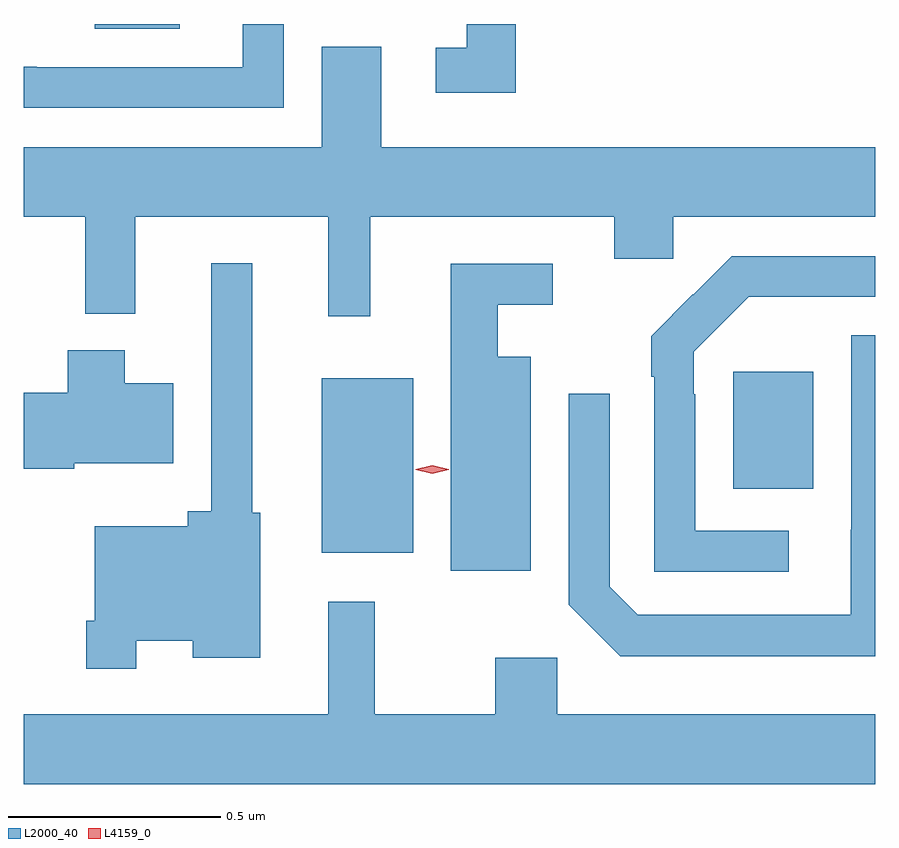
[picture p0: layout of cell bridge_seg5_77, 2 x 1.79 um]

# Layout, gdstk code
import gdstk
lib = gdstk.Library(unit=1e-6, precision=1e-09)
def R(c, l, rs):  # rectangles x0, y0, x1, y1
    for r in rs: c.add(gdstk.rectangle(r[:2], r[2:], *l))
def P(c, l, *ps):  # polygons
    for p in ps: c.add(gdstk.Polygon(p, *l))
L2000_40 = (2000, 40)
L4159_0 = (4159, 0)

bridge_seg5_77 = lib.new_cell('bridge_seg5_77')
R(bridge_seg5_77, L2000_40, [(134.195,906.587,134.41,906.997), (135.161,906.737,135.349,907.012), (133.662,907.818,133.861,907.829)])
P(bridge_seg5_77, L2000_40, [(134.106,907.829),(134.009,907.829),(134.009,907.728),(133.525,907.728),(133.525,907.729),(133.495,907.729),(133.495,907.632),(134.106,907.632)],
  [(134.651,907.829),(134.535,907.829),(134.535,907.773),(134.463,907.773),(134.463,907.668),(134.651,907.668)],
  [(134.309,907.376),(134.882,907.376),(134.882,907.278),(135.021,907.278),(135.021,907.376),(135.495,907.376),(135.495,907.54),(134.335,907.54),(134.335,907.776),(134.195,907.776),(134.195,907.54),(133.495,907.54),(133.495,907.376),(133.639,907.376),(133.639,907.148),(133.757,907.148),(133.757,907.376),(134.21,907.376),(134.21,907.143),(134.309,907.143)],
  [(135.292,906.639),(135.072,906.639),(135.072,906.959),(135.069,906.959),(135.069,907.059),(135.198,907.188),(135.495,907.188),(135.495,907.284),(135.158,907.284),(135.067,907.193),(135.066,907.194),(134.969,907.096),(134.969,907.001),(134.976,907.001),(134.976,906.543),(135.292,906.543)],
  [(133.759,906.38),(133.892,906.38),(133.892,906.341),(134.05,906.341),(134.05,906.681),(134.032,906.681),(134.032,907.267),(133.935,907.267),(133.935,906.685),(133.88,906.685),(133.88,906.649),(133.662,906.649),(133.662,906.427),(133.642,906.427),(133.642,906.315),(133.759,906.315)],
  [(134.686,907.048),(134.608,907.048),(134.608,907.17),(134.737,907.17),(134.737,907.266),(134.498,907.266),(134.498,906.545),(134.686,906.545)],
  [(135.495,907.098),(135.438,907.098),(135.438,906.641),(135.437,906.641),(135.437,906.441),(134.937,906.441),(134.871,906.507),(134.871,906.961),(134.775,906.961),(134.775,906.465),(134.896,906.344),(135.495,906.344)],
  [(133.614,906.797),(133.846,906.797),(133.846,906.985),(133.732,906.985),(133.732,907.063),(133.598,907.063),(133.598,906.963),(133.495,906.963),(133.495,906.785),(133.614,906.785)],
  [(135.495,906.208),(134.748,906.208),(134.748,906.34),(134.602,906.34),(134.602,906.208),(134.32,906.208),(134.32,906.472),(134.21,906.472),(134.21,906.208),(133.495,906.208),(133.495,906.044),(135.495,906.044)])
P(bridge_seg5_77, L4159_0, [(134.454,906.773),(134.416,906.782),(134.416,906.783),(134.416,906.783),(134.454,906.793),(134.493,906.783),(134.493,906.783),(134.493,906.782)])

lib.write_gds('bridge_seg5_77.gds')
